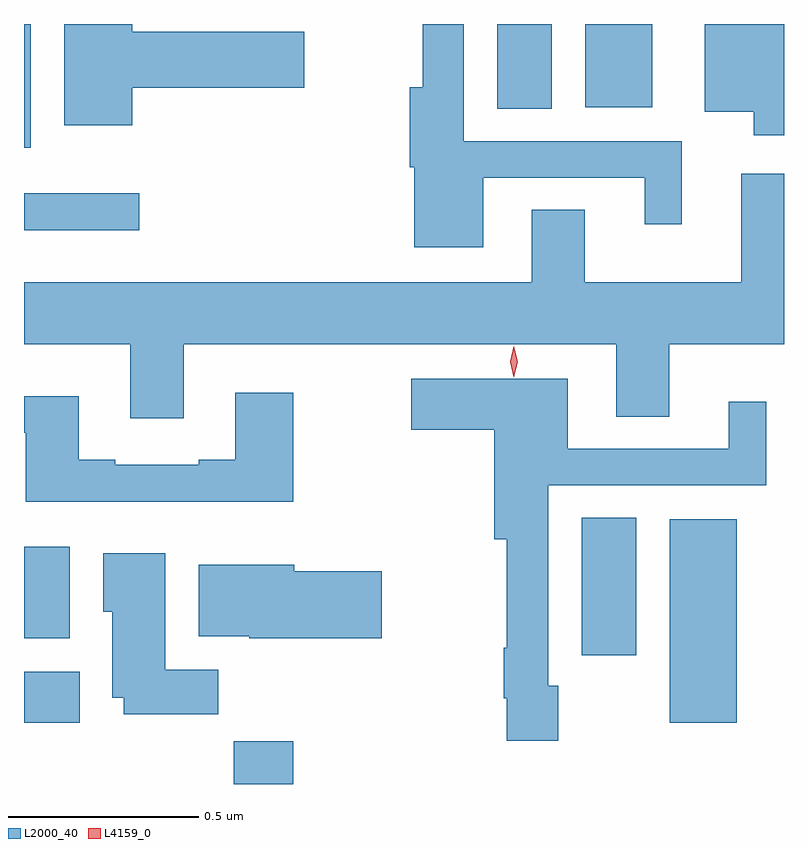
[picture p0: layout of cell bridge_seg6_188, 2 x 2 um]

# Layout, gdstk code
import gdstk
lib = gdstk.Library(unit=1e-6, precision=1e-09)
def R(c, l, rs):  # rectangles x0, y0, x1, y1
    for r in rs: c.add(gdstk.rectangle(r[:2], r[2:], *l))
def P(c, l, *ps):  # polygons
    for p in ps: c.add(gdstk.Polygon(p, *l))
L2000_40 = (2000, 40)
L4159_0 = (4159, 0)

bridge_seg6_188 = lib.new_cell('bridge_seg6_188')
R(bridge_seg6_188, L2000_40, [(277.657,984.807,277.814,984.92), (277.105,984.968,277.252,985.102), (278.804,984.968,278.98,985.504), (278.573,985.146,278.716,985.508), (277.105,985.19,277.225,985.432), (277.105,986.264,277.408,986.361), (277.105,986.481,277.123,986.807), (278.351,986.584,278.494,986.807), (278.582,986.588,278.758,986.807)])
P(bridge_seg6_188, L2000_40, [(279.105,986.807),(278.897,986.807),(278.897,986.576),(279.026,986.576),(279.026,986.514),(279.105,986.514)],
  [(278.314,986.403),(278.738,986.403),(278.738,986.28),(278.836,986.28),(278.836,986.499),(278.262,986.499),(278.262,986.807),(278.154,986.807),(278.154,986.641),(278.12,986.641),(278.12,986.43),(278.132,986.43),(278.132,986.219),(278.314,986.219)],
  [(277.39,986.639),(277.843,986.639),(277.843,986.786),(277.39,986.786),(277.39,986.807),(277.211,986.807),(277.211,986.54),(277.39,986.54)],
  [(277.525,985.964),(278.663,985.964),(278.663,985.774),(278.803,985.774),(278.803,985.964),(279.105,985.964),(279.105,986.413),(278.993,986.413),(278.993,986.128),(278.581,986.128),(278.581,986.318),(278.441,986.318),(278.441,986.128),(277.105,986.128),(277.105,985.964),(277.385,985.964),(277.385,985.77),(277.525,985.77)],
  [(278.511,985.065),(278.484,985.065),(278.484,985.593),(279.058,985.593),(279.058,985.813),(278.96,985.813),(278.96,985.689),(278.536,985.689),(278.536,985.873),(278.124,985.873),(278.124,985.739),(278.342,985.739),(278.342,985.451),(278.376,985.451),(278.376,985.165),(278.368,985.165),(278.368,985.033),(278.376,985.033),(278.376,984.921),(278.511,984.921)],
  [(277.814,985.837),(277.661,985.837),(277.661,985.66),(277.565,985.66),(277.565,985.647),(277.345,985.647),(277.345,985.66),(277.249,985.66),(277.249,985.828),(277.105,985.828),(277.105,985.731),(277.109,985.731),(277.109,985.55),(277.814,985.55)],
  [(277.616,985.108),(277.477,985.108),(277.477,985.414),(277.313,985.414),(277.313,985.26),(277.337,985.26),(277.337,985.034),(277.367,985.034),(277.367,984.99),(277.616,984.99)],
  [(278.047,985.367),(277.816,985.367),(277.816,985.384),(277.565,985.384),(277.565,985.196),(277.698,985.196),(277.698,985.19),(278.047,985.19)])
P(bridge_seg6_188, L4159_0, [(278.394,985.877),(278.394,985.878),(278.384,985.918),(278.394,985.959),(278.394,985.959),(278.394,985.959),(278.404,985.918),(278.394,985.878)])

lib.write_gds('bridge_seg6_188.gds')
